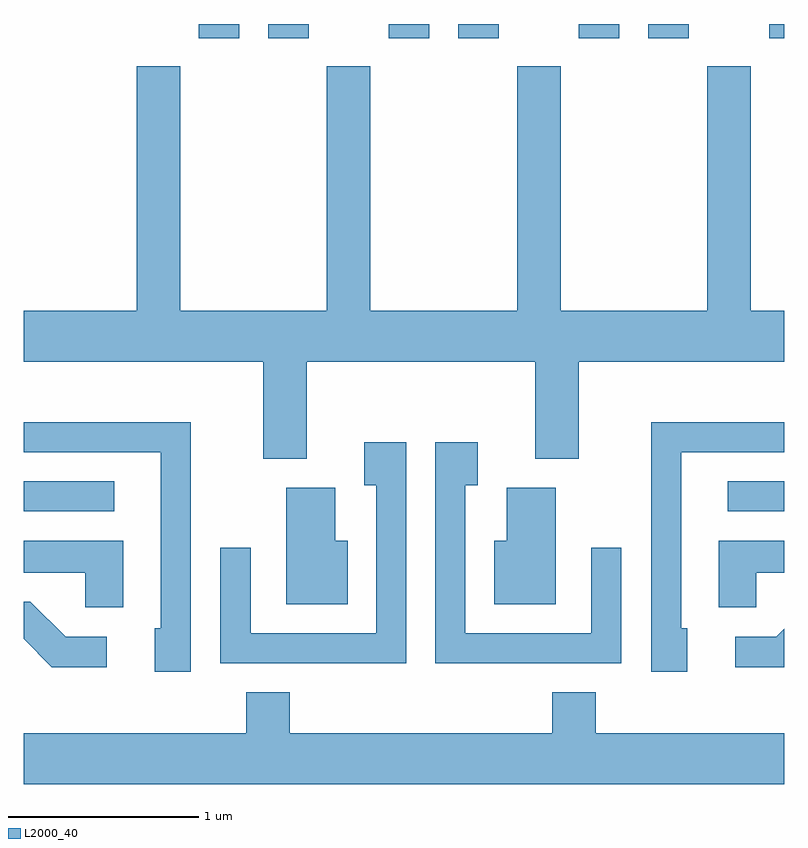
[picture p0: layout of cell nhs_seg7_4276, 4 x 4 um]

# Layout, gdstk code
import gdstk
lib = gdstk.Library(unit=1e-6, precision=1e-09)
def R(c, l, rs):  # rectangles x0, y0, x1, y1
    for r in rs: c.add(gdstk.rectangle(r[:2], r[2:], *l))
def P(c, l, *ps):  # polygons
    for p in ps: c.add(gdstk.Polygon(p, *l))
L2000_40 = (2000, 40)

nhs_seg7_4276 = lib.new_cell('nhs_seg7_4276')
R(nhs_seg7_4276, L2000_40, [(315.611,1775.691,316.088,1775.849), (319.313,1775.691,319.611,1775.849), (316.531,1778.176,316.744,1778.252), (316.896,1778.176,317.109,1778.252), (317.531,1778.176,317.744,1778.252), (317.896,1778.176,318.109,1778.252), (318.531,1778.176,318.744,1778.252), (318.896,1778.176,319.109,1778.252), (319.531,1778.176,319.611,1778.252)])
P(nhs_seg7_4276, L2000_40, [(317.099,1776.476),(318.301,1776.476),(318.301,1775.966),(318.529,1775.966),(318.529,1776.476),(319.611,1776.476),(319.611,1776.744),(319.434,1776.744),(319.434,1778.029),(319.206,1778.029),(319.206,1776.744),(318.434,1776.744),(318.434,1778.029),(318.206,1778.029),(318.206,1776.744),(317.434,1776.744),(317.434,1778.029),(317.206,1778.029),(317.206,1776.744),(316.434,1776.744),(316.434,1778.029),(316.206,1778.029),(316.206,1776.744),(315.611,1776.744),(315.611,1776.476),(316.871,1776.476),(316.871,1775.966),(317.099,1775.966)],
  [(319.099,1775.074),(319.069,1775.074),(319.069,1776.001),(319.611,1776.001),(319.611,1776.159),(318.911,1776.159),(318.911,1774.846),(319.099,1774.846)],
  [(316.489,1776.159),(315.611,1776.159),(315.611,1776.001),(316.331,1776.001),(316.331,1775.074),(316.301,1775.074),(316.301,1774.846),(316.489,1774.846)],
  [(318.754,1775.498),(318.596,1775.498),(318.596,1775.049),(317.934,1775.049),(317.934,1775.826),(317.999,1775.826),(317.999,1776.054),(317.776,1776.054),(317.776,1774.891),(318.754,1774.891)],
  [(317.624,1776.054),(317.401,1776.054),(317.401,1775.826),(317.466,1775.826),(317.466,1775.049),(316.804,1775.049),(316.804,1775.498),(316.646,1775.498),(316.646,1774.891),(317.624,1774.891)],
  [(318.409,1775.814),(318.151,1775.814),(318.151,1775.534),(318.086,1775.534),(318.086,1775.201),(318.409,1775.201)],
  [(317.314,1775.534),(317.249,1775.534),(317.249,1775.814),(316.991,1775.814),(316.991,1775.201),(317.314,1775.201)],
  [(319.464,1775.366),(319.611,1775.366),(319.611,1775.534),(319.266,1775.534),(319.266,1775.186),(319.464,1775.186)],
  [(316.134,1775.534),(315.611,1775.534),(315.611,1775.366),(315.936,1775.366),(315.936,1775.186),(316.134,1775.186)],
  [(316.048,1775.029),(315.832,1775.029),(315.647,1775.214),(315.611,1775.214),(315.611,1775.019),(315.759,1774.871),(316.048,1774.871)],
  [(319.611,1775.071),(319.569,1775.029),(319.353,1775.029),(319.353,1774.871),(319.611,1774.871)],
  [(319.611,1774.524),(318.619,1774.524),(318.619,1774.739),(318.391,1774.739),(318.391,1774.524),(317.009,1774.524),(317.009,1774.739),(316.781,1774.739),(316.781,1774.524),(315.611,1774.524),(315.611,1774.256),(319.611,1774.256)])

lib.write_gds('nhs_seg7_4276.gds')
